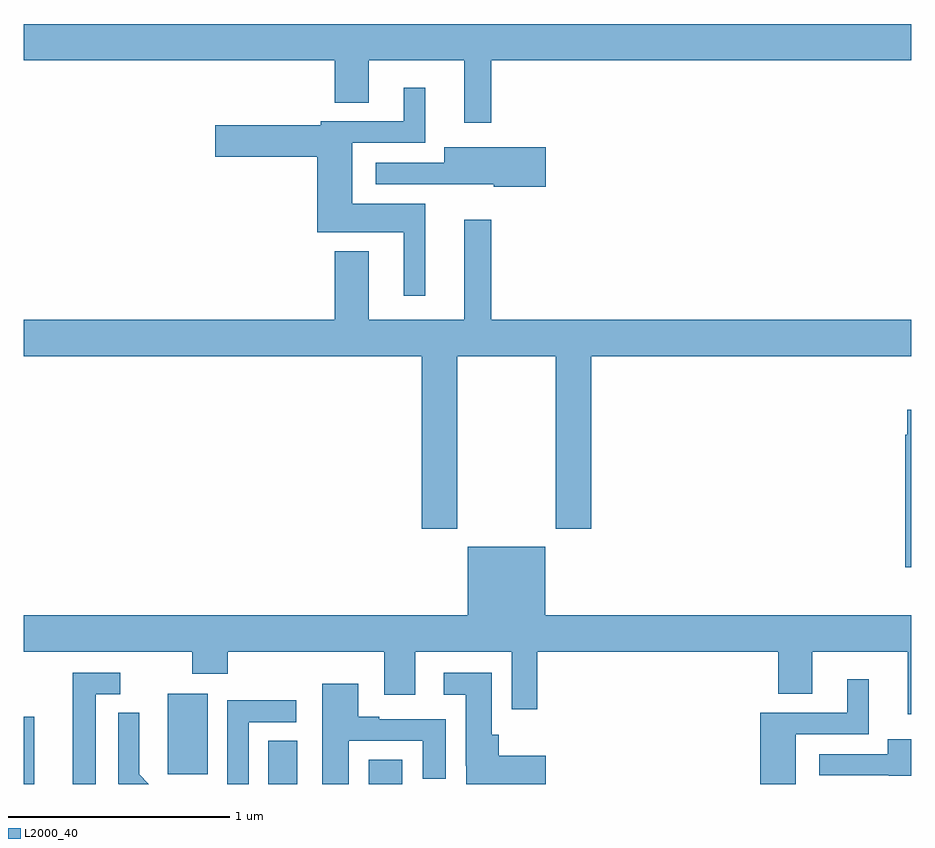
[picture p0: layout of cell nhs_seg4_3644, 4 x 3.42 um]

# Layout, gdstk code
import gdstk
lib = gdstk.Library(unit=1e-6, precision=1e-09)
def R(c, l, rs):  # rectangles x0, y0, x1, y1
    for r in rs: c.add(gdstk.rectangle(r[:2], r[2:], *l))
def P(c, l, *ps):  # polygons
    for p in ps: c.add(gdstk.Polygon(p, *l))
L2000_40 = (2000, 40)

nhs_seg4_3644 = lib.new_cell('nhs_seg4_3644')
R(nhs_seg4_3644, L2000_40, [(303,786.9,303.049,787.203), (304.103,786.9,304.234,787.094), (304.556,786.9,304.705,787.01), (303.65,786.945,303.829,787.306)])
P(nhs_seg4_3644, L2000_40, [(305.107,790.16),(307,790.16),(307,790.324),(303,790.324),(303,790.16),(304.403,790.16),(304.403,789.97),(304.555,789.97),(304.555,790.16),(304.985,790.16),(304.985,789.879),(305.107,789.879)],
  [(304.81,789.514),(304.48,789.514),(304.48,789.789),(304.81,789.789),(304.81,790.036),(304.712,790.036),(304.712,789.885),(304.338,789.885),(304.338,789.867),(303.864,789.867),(303.864,789.725),(304.322,789.725),(304.322,789.386),(304.712,789.386),(304.712,789.099),(304.81,789.099)],
  [(305.353,789.768),(304.895,789.768),(304.895,789.699),(304.587,789.699),(304.587,789.603),(304.899,789.603),(304.899,789.602),(305.118,789.602),(305.118,789.59),(305.353,789.59)],
  [(304.793,788.049),(304.953,788.049),(304.953,788.828),(305.398,788.828),(305.398,788.049),(305.558,788.049),(305.558,788.828),(307,788.828),(307,788.992),(305.107,788.992),(305.107,789.442),(304.985,789.442),(304.985,788.992),(304.555,788.992),(304.555,789.301),(304.403,789.301),(304.403,788.992),(303,788.992),(303,788.828),(304.793,788.828)],
  [(307,788.587),(306.981,788.587),(306.981,788.474),(306.973,788.474),(306.973,787.877),(307,787.877)],
  [(307,787.66),(305.35,787.66),(305.35,787.969),(305,787.969),(305,787.66),(303,787.66),(303,787.496),(303.76,787.496),(303.76,787.397),(303.92,787.397),(303.92,787.496),(304.625,787.496),(304.625,787.302),(304.765,787.302),(304.765,787.496),(305.199,787.496),(305.199,787.236),(305.315,787.236),(305.315,787.496),(306.401,787.496),(306.401,787.306),(306.553,787.306),(306.553,787.496),(306.983,787.496),(306.983,787.215),(307,787.215)],
  [(305.353,787.027),(305.141,787.027),(305.141,787.122),(305.11,787.122),(305.11,787.402),(304.893,787.402),(304.893,787.301),(304.991,787.301),(304.991,786.982),(304.995,786.982),(304.995,786.9),(305.353,786.9)],
  [(303.325,787.305),(303.436,787.305),(303.436,787.401),(303.221,787.401),(303.221,786.9),(303.325,786.9)],
  [(306.478,787.125),(306.808,787.125),(306.808,787.372),(306.71,787.372),(306.71,787.221),(306.32,787.221),(306.32,786.9),(306.478,786.9)],
  [(304.465,787.095),(304.799,787.095),(304.799,786.924),(304.903,786.924),(304.903,787.191),(304.603,787.191),(304.603,787.204),(304.507,787.204),(304.507,787.351),(304.346,787.351),(304.346,786.9),(304.465,786.9)],
  [(304.014,787.179),(304.228,787.179),(304.228,787.278),(303.918,787.278),(303.918,786.9),(304.014,786.9)],
  [(303.521,786.944),(303.521,787.066),(303.522,787.066),(303.522,787.22),(303.426,787.22),(303.426,786.902),(303.428,786.9),(303.564,786.9)],
  [(307,787.102),(306.893,787.102),(306.893,787.035),(306.585,787.035),(306.585,786.939),(306.897,786.939),(306.897,786.938),(307,786.938)])

lib.write_gds('nhs_seg4_3644.gds')
